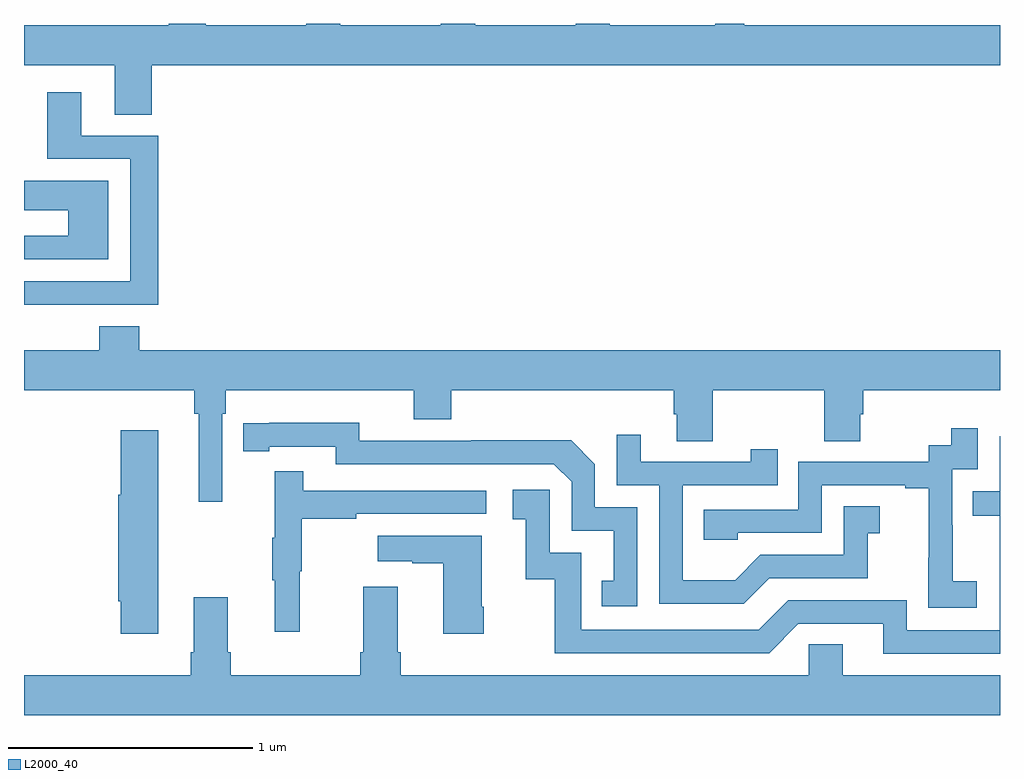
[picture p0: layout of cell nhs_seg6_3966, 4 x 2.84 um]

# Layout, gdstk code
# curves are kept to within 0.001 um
import gdstk
lib = gdstk.Library(unit=1e-6, precision=1e-09)
def P(c, l, *ps):  # polygons
    for p in ps: c.add(gdstk.Polygon(p, *l))
L2000_40 = (2000, 40)

nhs_seg6_3966 = lib.new_cell('nhs_seg6_3966')
P(nhs_seg6_3966, L2000_40, [(345.524,955.328),(349,955.328),(349,955.492),(347.951,955.492),(347.951,955.5),(347.834,955.5),(347.834,955.492),(347.401,955.492),(347.401,955.5),(347.261,955.5),(347.261,955.492),(346.849,955.492),(346.849,955.5),(346.709,955.5),(346.709,955.492),(346.297,955.492),(346.297,955.5),(346.157,955.5),(346.157,955.492),(345.745,955.492),(345.745,955.5),(345.593,955.5),(345.593,955.492),(345,955.492),(345,955.328),(345.371,955.328),(345.371,955.126),(345.524,955.126)],
  [(345.224,954.348),(345.551,954.348),(345.551,955.041),(345.235,955.041),(345.235,955.219),(345.095,955.219),(345.095,954.945),(345.435,954.945),(345.435,954.444),(345,954.444),(345,954.347),(345.224,954.347)],
  [(345.346,954.856),(345,954.856),(345,954.734),(345.182,954.734),(345.182,954.63),(345,954.63),(345,954.534),(345.346,954.534)],
  [(345.473,954.259),(345.308,954.259),(345.308,954.16),(345,954.16),(345,953.996),(345.697,953.996),(345.697,953.9),(345.716,953.9),(345.716,953.541),(345.813,953.541),(345.813,953.9),(345.827,953.9),(345.827,953.996),(346.598,953.996),(346.598,953.879),(346.751,953.879),(346.751,953.996),(347.663,953.996),(347.663,953.898),(347.675,953.898),(347.675,953.788),(347.823,953.788),(347.823,953.996),(348.28,953.996),(348.28,953.788),(348.427,953.788),(348.427,953.898),(348.44,953.898),(348.44,953.996),(349,953.996),(349,954.16),(345.473,954.16)],
  [(347.514,953.517),(347.34,953.517),(347.34,953.694),(347.242,953.792),(346.834,953.792),(346.834,953.79),(346.374,953.79),(346.374,953.863),(345.898,953.862),(345.898,953.746),(346.006,953.746),(346.006,953.766),(346.278,953.766),(346.278,953.694),(347.172,953.694),(347.244,953.622),(347.244,953.421),(347.417,953.421),(347.417,953.217),(347.368,953.217),(347.368,953.112),(347.514,953.112)],
  [(348.904,953.215),(348.806,953.215),(348.806,953.444),(348.804,953.444),(348.804,953.673),(348.909,953.673),(348.909,953.842),(348.801,953.842),(348.801,953.772),(348.708,953.772),(348.708,953.703),(348.174,953.703),(348.174,953.508),(347.785,953.508),(347.785,953.385),(347.925,953.385),(347.925,953.412),(348.27,953.412),(348.27,953.607),(348.611,953.607),(348.611,953.595),(348.707,953.595),(348.707,953.311),(348.706,953.311),(348.706,953.105),(348.904,953.105)],
  [(345.55,953.833),(345.397,953.833),(345.397,953.569),(345.386,953.569),(345.386,953.133),(345.397,953.133),(345.397,952.998),(345.55,952.998)],
  [(348.055,953.226),(348.459,953.226),(348.459,953.411),(348.508,953.411),(348.508,953.521),(348.36,953.521),(348.36,953.322),(348.018,953.322),(347.914,953.218),(347.7,953.218),(347.7,953.607),(348.089,953.607),(348.089,953.755),(347.978,953.755),(347.978,953.703),(347.527,953.703),(347.527,953.815),(347.43,953.815),(347.43,953.607),(347.604,953.607),(347.604,953.121),(347.95,953.121)],
  [(349,953.808),(348.999,953.583),(348.889,953.583),(348.889,953.482),(348.999,953.482),(348.999,953.013),(348.618,953.013),(348.618,953.136),(348.132,953.136),(348.012,953.016),(347.283,953.016),(347.283,953.331),(347.154,953.331),(347.154,953.59),(347.004,953.59),(347.004,953.469),(347.057,953.469),(347.057,953.223),(347.175,953.223),(347.175,952.92),(348.054,952.92),(348.174,953.04),(348.521,953.04),(348.521,952.917),(349,952.917)],
  [(346.13,953.256),(346.138,953.256),(346.138,953.47),(346.361,953.47),(346.361,953.49),(346.894,953.49),(346.894,953.586),(346.145,953.586),(346.145,953.665),(346.028,953.665),(346.028,953.393),(346.017,953.393),(346.017,953.219),(346.028,953.219),(346.028,953.007),(346.13,953.007)],
  [(346.884,953.11),(346.876,953.11),(346.876,953.401),(346.449,953.401),(346.449,953.297),(346.592,953.297),(346.592,953.287),(346.718,953.287),(346.718,952.998),(346.884,952.998)],
  [(349,952.828),(348.355,952.828),(348.355,952.955),(348.216,952.955),(348.216,952.828),(346.544,952.828),(346.544,952.924),(346.531,952.924),(346.531,953.191),(346.391,953.191),(346.391,952.924),(346.379,952.924),(346.379,952.828),(345.848,952.828),(345.848,952.924),(345.835,952.924),(345.835,953.149),(345.695,953.149),(345.695,952.924),(345.683,952.924),(345.683,952.828),(345,952.828),(345,952.664),(349,952.664)])

lib.write_gds('nhs_seg6_3966.gds')
